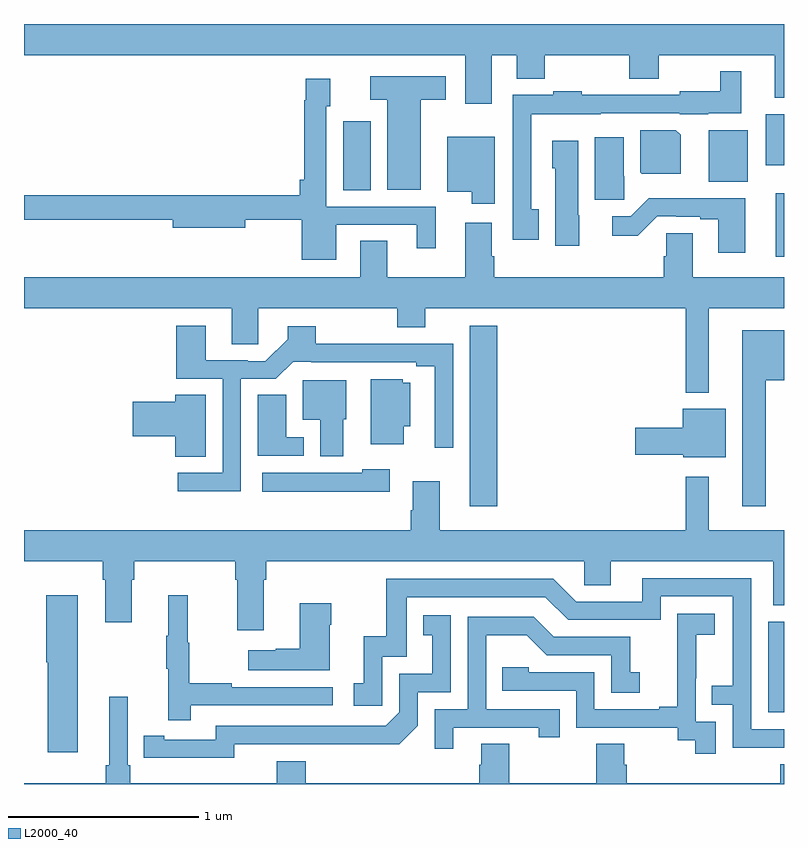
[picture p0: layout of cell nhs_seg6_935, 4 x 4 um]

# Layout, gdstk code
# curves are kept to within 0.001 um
import gdstk
lib = gdstk.Library(unit=1e-6, precision=1e-09)
def R(c, l, rs):  # rectangles x0, y0, x1, y1
    for r in rs: c.add(gdstk.rectangle(r[:2], r[2:], *l))
def P(c, l, *ps):  # polygons
    for p in ps: c.add(gdstk.Polygon(p, *l))
L2000_40 = (2000, 40)

nhs_seg6_935 = lib.new_cell('nhs_seg6_935')
R(nhs_seg6_935, L2000_40, [(172.917,943.878,173,944.355), (171.347,944.961,171.491,945.913), (172.956,946.275,173,946.609), (170.681,946.624,170.824,946.987), (172.604,946.67,172.81,946.94), (172.904,946.757,173,947.026)])
P(nhs_seg6_935, L2000_40, [(171.463,947.336),(171.593,947.336),(171.593,947.212),(171.741,947.212),(171.741,947.336),(172.186,947.336),(172.186,947.212),(172.341,947.212),(172.341,947.336),(172.952,947.336),(172.952,947.111),(173,947.111),(173,947.5),(169,947.5),(169,947.336),(171.323,947.336),(171.323,947.079),(171.463,947.079)],
  [(171.709,946.526),(171.669,946.526),(171.669,947.024),(172.035,947.024),(172.035,947.031),(172.452,947.031),(172.452,947.024),(172.602,947.024),(172.602,947.03),(172.775,947.03),(172.775,947.251),(172.665,947.251),(172.665,947.146),(172.452,947.146),(172.452,947.127),(171.936,947.127),(171.936,947.145),(171.786,947.145),(171.786,947.127),(171.573,947.127),(171.573,946.365),(171.709,946.365)],
  [(171.088,947.102),(171.22,947.102),(171.22,947.224),(170.823,947.224),(170.823,947.102),(170.912,947.102),(170.912,946.628),(171.088,946.628)],
  [(170.644,946.443),(171.068,946.443),(171.068,946.32),(171.166,946.32),(171.166,946.539),(170.592,946.539),(170.592,947.067),(170.611,947.067),(170.611,947.212),(170.484,947.212),(170.484,947.099),(170.476,947.099),(170.476,946.681),(170.45,946.681),(170.45,946.598),(169,946.598),(169,946.47),(169.784,946.47),(169.784,946.427),(170.164,946.427),(170.164,946.47),(170.462,946.47),(170.462,946.259),(170.644,946.259)],
  [(172.456,946.916),(172.43,946.942),(172.244,946.942),(172.244,946.72),(172.252,946.712),(172.456,946.712)],
  [(171.478,946.906),(171.227,946.906),(171.227,946.616),(171.356,946.616),(171.356,946.554),(171.478,946.554)],
  [(172.16,946.698),(172.156,946.698),(172.156,946.903),(172.004,946.903),(172.004,946.575),(172.16,946.575)],
  [(171.922,946.494),(171.916,946.494),(171.916,946.885),(171.779,946.885),(171.779,946.74),(171.797,946.74),(171.797,946.332),(171.922,946.332)],
  [(172.795,946.583),(172.289,946.583),(172.194,946.488),(172.095,946.488),(172.095,946.386),(172.23,946.386),(172.332,946.488),(172.432,946.488),(172.432,946.485),(172.559,946.485),(172.559,946.473),(172.655,946.473),(172.655,946.296),(172.795,946.296)],
  [(172.603,946.004),(173,946.004),(173,946.168),(172.519,946.168),(172.519,946.4),(172.38,946.4),(172.38,946.278),(172.367,946.278),(172.367,946.168),(171.476,946.168),(171.476,946.277),(171.463,946.277),(171.463,946.453),(171.323,946.453),(171.323,946.168),(170.911,946.168),(170.911,946.358),(170.771,946.358),(170.771,946.168),(169,946.168),(169,946.004),(170.093,946.004),(170.093,945.814),(170.232,945.814),(170.232,946.004),(170.965,946.004),(170.965,945.905),(171.112,945.905),(171.112,946.004),(172.482,946.004),(172.482,945.56),(172.603,945.56)],
  [(170.142,945.633),(170.326,945.633),(170.416,945.723),(170.512,945.723),(170.512,945.72),(171.065,945.72),(171.065,945.7),(171.162,945.7),(171.162,945.27),(171.258,945.27),(171.258,945.816),(170.876,945.816),(170.876,945.818),(170.535,945.818),(170.535,945.91),(170.387,945.91),(170.387,945.842),(170.271,945.726),(170.177,945.726),(170.177,945.729),(169.957,945.729),(169.957,945.913),(169.802,945.913),(169.802,945.633),(170.046,945.633),(170.046,945.138),(169.809,945.138),(169.809,945.041),(170.142,945.041)],
  [(172.903,945.626),(173,945.626),(173,945.889),(172.781,945.889),(172.781,944.961),(172.903,944.961)],
  [(170.998,945.383),(171.034,945.383),(171.034,945.613),(170.994,945.613),(170.994,945.631),(170.825,945.631),(170.825,945.287),(170.998,945.287)],
  [(170.68,945.42),(170.695,945.42),(170.695,945.625),(170.468,945.625),(170.468,945.416),(170.558,945.416),(170.558,945.224),(170.68,945.224)],
  [(169.957,945.548),(169.796,945.548),(169.796,945.512),(169.572,945.512),(169.572,945.329),(169.796,945.329),(169.796,945.223),(169.957,945.223)],
  [(170.473,945.324),(170.38,945.324),(170.38,945.548),(170.231,945.548),(170.231,945.228),(170.473,945.228)],
  [(172.693,945.475),(172.466,945.475),(172.466,945.374),(172.218,945.374),(172.218,945.232),(172.47,945.232),(172.47,945.221),(172.693,945.221)],
  [(170.926,945.157),(170.781,945.157),(170.781,945.139),(170.253,945.139),(170.253,945.038),(170.926,945.038)],
  [(169,944.672),(169.415,944.672),(169.415,944.576),(169.427,944.576),(169.427,944.352),(169.567,944.352),(169.567,944.576),(169.58,944.576),(169.58,944.672),(170.111,944.672),(170.111,944.576),(170.123,944.576),(170.123,944.31),(170.263,944.31),(170.263,944.576),(170.276,944.576),(170.276,944.672),(171.948,944.672),(171.948,944.545),(172.087,944.545),(172.087,944.672),(172.943,944.672),(172.943,944.44),(173,944.44),(173,944.836),(172.603,944.836),(172.603,945.118),(172.482,945.118),(172.482,944.836),(171.187,944.836),(171.187,945.094),(171.047,945.094),(171.047,944.942),(171.035,944.942),(171.035,944.836),(169,944.836)],
  [(173,943.788),(172.827,943.788),(172.827,944.583),(172.253,944.583),(172.253,944.46),(171.906,944.46),(171.786,944.58),(170.907,944.58),(170.907,944.278),(170.789,944.278),(170.789,944.031),(170.736,944.031),(170.736,943.911),(170.886,943.911),(170.886,944.169),(171.015,944.169),(171.015,944.484),(171.744,944.484),(171.864,944.364),(172.35,944.364),(172.35,944.487),(172.731,944.487),(172.731,944.018),(172.621,944.018),(172.621,943.917),(172.731,943.917),(172.731,943.692),(173,943.692)],
  [(169.282,944.494),(169.118,944.494),(169.118,944.142),(169.124,944.142),(169.124,943.668),(169.282,943.668)],
  [(169.877,943.914),(170.626,943.914),(170.626,944.01),(170.093,944.01),(170.093,944.03),(169.87,944.03),(169.87,944.244),(169.862,944.244),(169.862,944.494),(169.76,944.494),(169.76,944.281),(169.749,944.281),(169.749,944.107),(169.76,944.107),(169.76,943.836),(169.877,943.836)],
  [(170.608,944.339),(170.616,944.339),(170.616,944.452),(170.45,944.452),(170.45,944.213),(170.324,944.213),(170.324,944.203),(170.181,944.203),(170.181,944.099),(170.608,944.099)],
  [(172.641,943.827),(172.536,943.827),(172.536,944.057),(172.538,944.057),(172.538,944.285),(172.636,944.285),(172.636,944.395),(172.438,944.395),(172.438,944.189),(172.439,944.189),(172.439,943.906),(172.343,943.906),(172.343,943.893),(172.002,943.893),(172.002,944.088),(171.657,944.088),(171.657,944.115),(171.517,944.115),(171.517,943.992),(171.906,943.992),(171.906,943.797),(172.44,943.797),(172.44,943.729),(172.533,943.729),(172.533,943.659),(172.641,943.659)],
  [(170.106,943.71),(170.974,943.709),(171.072,943.806),(171.072,943.983),(171.246,943.983),(171.246,944.389),(171.1,944.389),(171.1,944.283),(171.149,944.283),(171.149,944.079),(170.976,944.079),(170.976,943.878),(170.904,943.806),(170.01,943.806),(170.01,943.734),(169.738,943.734),(169.738,943.754),(169.63,943.754),(169.63,943.638),(170.106,943.637)],
  [(171.259,943.797),(171.71,943.797),(171.71,943.746),(171.821,943.746),(171.821,943.893),(171.432,943.893),(171.432,944.282),(171.646,944.282),(171.75,944.178),(172.092,944.178),(172.092,943.98),(172.24,943.98),(172.24,944.089),(172.191,944.089),(172.191,944.274),(171.787,944.274),(171.682,944.379),(171.336,944.379),(171.336,943.893),(171.162,943.893),(171.162,943.686),(171.259,943.686)],
  [(173,943.603),(172.979,943.603),(172.979,943.504),(172.172,943.504),(172.172,943.602),(172.159,943.602),(172.159,943.712),(172.012,943.712),(172.012,943.504),(171.555,943.504),(171.555,943.712),(171.407,943.712),(171.407,943.602),(171.395,943.602),(171.395,943.504),(170.483,943.504),(170.483,943.621),(170.33,943.621),(170.33,943.504),(169.559,943.504),(169.559,943.6),(169.545,943.6),(169.545,943.96),(169.448,943.96),(169.448,943.6),(169.429,943.6),(169.429,943.504),(169,943.504),(169,943.5),(173,943.5)])

lib.write_gds('nhs_seg6_935.gds')
